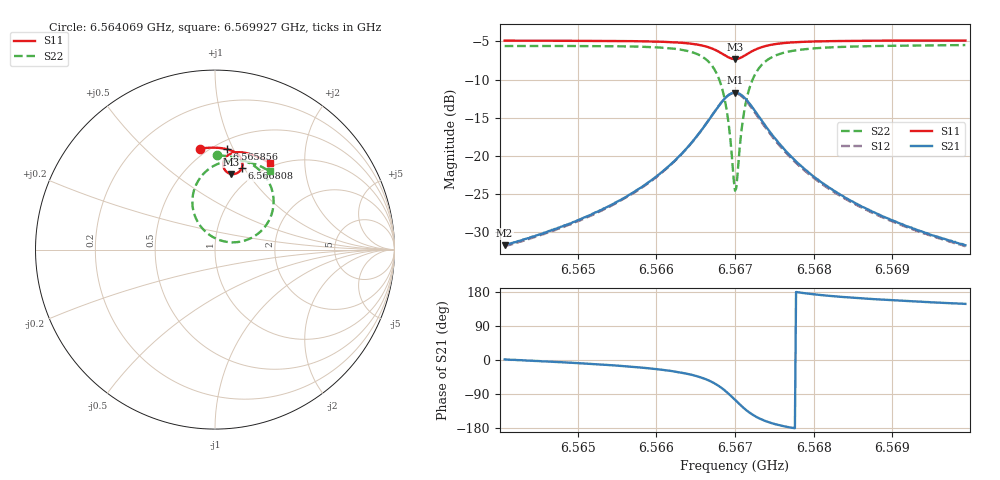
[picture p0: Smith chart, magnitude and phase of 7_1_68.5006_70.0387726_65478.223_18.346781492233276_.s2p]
#  HZ  S  RI  R  50.00
! Rohde & Schwarz Vector Network Analyzer
! Rohde-Schwarz,ZNB20-2Port,1311601062101988,3.16
! Created: UTC 3/20/2024, 5:04:00 PM
! freq[Hz]  re:S11  im:S11  re:S21  im:S21  re:S12  im:S12  re:S22  im:S22
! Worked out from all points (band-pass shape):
!   401 points, 6.564069 GHz to 6.569927 GHz, reference 50 ohm
!   highest |S21| = -11.70 dB at 6.566998 GHz (marker M1); lowest = -31.7 dB at 6.564069 GHz (marker M2)
!   |S21| within 3 dB of the highest: 6.566706 GHz to 6.567292 GHz (585.6 kHz wide, 0.00892 % of centre)
!   lowest |S11| = -7.3 dB at 6.566998 GHz (marker M3), VSWR 2.51, Z = 40.4 + j41.8 ohm
!   |S11| at or under -10 dB: nowhere
!   |S22| runs from -24.6 to -5.5 dB; largest |S21 - S12| = 0.012
!   S11 on the Smith chart (normalised r, x): 6.564069 GHz: 0.45, +0.75; 6.565856 GHz: 0.58, +0.94; 6.566808 GHz: 0.83, +0.97; 6.569927 GHz: 0.94, +1.35
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6.5640691e9  -0.0849 0.5627  0.0259 0.000658  0.0256 0.000111  0.0139 0.5246
6.5650504e9  -0.00575 0.5679  0.0384 -0.00607  0.0377 -0.00655  0.1033 0.5146
6.5658559e9  0.0666 0.5594  0.0605 -0.0232  0.0595 -0.0239  0.1987 0.4788
6.5660316e9  0.0843 0.5543  0.0686 -0.0316  0.0675 -0.0324  0.2255 0.4614
6.5663392e9  0.118 0.5375  0.0875 -0.0595  0.086 -0.0606  0.2809 0.4062
6.5665589e9  0.1428 0.5122  0.1008 -0.1033  0.0987 -0.1051  0.3202 0.3219
6.5667053e9  0.1531 0.4819  0.0972 -0.156  0.0936 -0.1588  0.3218 0.2209
6.5668078e9  0.1484 0.453  0.0718 -0.2059  0.0655 -0.2086  0.2782 0.1272
6.5668957e9  0.1285 0.4292  0.0207 -0.2444  0.0115 -0.2453  0.1859 0.0573
6.566925e9  0.1183 0.4239  -0.00265 -0.2523  -0.0128 -0.2515  0.1437 0.0445
6.5669836e9  0.0945 0.4206  -0.0549 -0.254  -0.0653 -0.2495  0.051 0.0456
6.5669982e9  0.0883 0.4215  -0.0679 -0.2511  -0.0783 -0.2459  0.0282 0.0519
6.5670275e9  0.0765 0.4255  -0.0931 -0.2416  -0.1026 -0.2346  -0.0146 0.0715
6.5670861e9  0.0577 0.4402  -0.1341 -0.2102  -0.1407 -0.2009  -0.0813 0.1311
6.56713e9  0.0493 0.4547  -0.1539 -0.1807  -0.158 -0.1709  -0.111 0.185
6.5671886e9  0.0455 0.4747  -0.1664 -0.1414  -0.1678 -0.1319  -0.1258 0.2553
6.5672619e9  0.0494 0.4962  -0.1664 -0.0992  -0.1654 -0.0912  -0.1176 0.3283
6.5675255e9  0.0885 0.5345  -0.1248 -0.0216  -0.1221 -0.0182  -0.0227 0.4572
6.5679795e9  0.1471 0.5421  -0.074 0.0078  -0.0724 0.00916  0.0971 0.4962
6.5684335e9  0.1914 0.5338  -0.0504 0.0132  -0.0493 0.0137  0.168 0.4917
6.5689607e9  0.235 0.5186  -0.0358 0.0143  -0.0349 0.0145  0.2261 0.4756
6.5699273e9  0.3045 0.4829  -0.022 0.0137  -0.0216 0.0139  0.3064 0.4358
